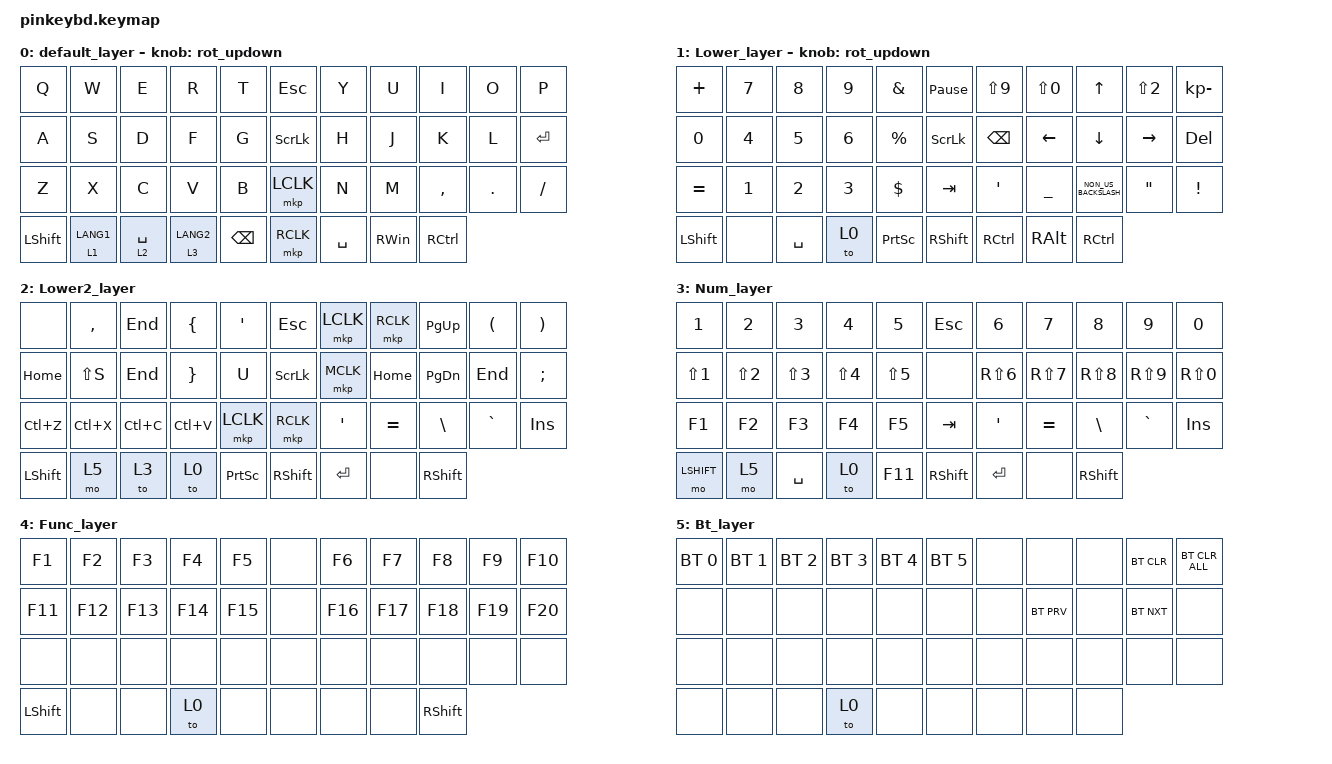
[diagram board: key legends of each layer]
#include <behaviors.dtsi>
#include <dt-bindings/zmk/bt.h>
#include <dt-bindings/zmk/keys.h>
#include <dt-bindings/zmk/pointing.h>

#define ZMK_POINTING_DEFAULT_SCRL_VAL 80

&lt { tapping-term-ms = <200>; };

/ {
    behaviors {
        rot_updown: rot_updown {
            compatible = "zmk,behavior-sensor-rotate";
            label = "ROT_UPDOWN";
            #sensor-binding-cells = <0>;
            bindings = <&msc SCRL_DOWN>, <&msc SCRL_UP>;

            tap-ms = <20>;
        };
    };

    keymap {
        compatible = "zmk,keymap";

        // ---------------------------------------------------------------------------------------------------------------------------------------------------------------------------------------------------------------
        // |        /       |       ,       |       .       |      -        |      ;       |    ESC         |                   |           |       L      |       R       |       D       |       Y       |      P      |
        // |        A       |       O       |       E       |      I        |      U       |    SCROLLLOCK  |                   |           |       G      |       N       |       T       |       S       |      K      |
        // |        X       |       C       |       V       |      W        |      Q       |    TAB         |                   |     F     |       J      |       H       |       M       |       B       |      Z      |
        // |    L_SHIFT     |               |               |   LOWER / Jp  |    Space     |    LEFT_WIN    |                   |  R_SHIFT  |      ENTER   |  LOWER2 / Ja  |               |               |   FUN_L     |
        // ---------------------------------------------------------------------------------------------------------------------------------------------------------------------------------------------------------------

        default_layer {
            bindings = <
&kp Q       &kp W        &kp E        &kp R        &kp T          &kp ESC         &kp Y      &kp U          &kp I              &kp O       &kp P
&kp A       &kp S        &kp D        &kp F        &kp G          &kp SCROLLLOCK  &kp H      &kp J          &kp K              &kp L       &kp ENTER
&kp Z       &kp X        &kp C        &kp V        &kp B          &mkp LCLK       &kp N      &kp M          &kp COMMA          &kp PERIOD  &kp SLASH
&kp LSHIFT  &lt 1 LANG1  &lt 2 SPACE  &lt 3 LANG2  &kp BACKSPACE  &mkp RCLK       &kp SPACE  &kp RIGHT_WIN  &kp RIGHT_CONTROL
            >;

            sensor-bindings = <&rot_updown>;
        };

        // ----------------------------------------------------------------------------------------------------------------------------------------------------------------------------------------------------------------
        // |    /           |       ,       |       END     |     （        |      ”        |    PAUSE_BREAK|                  |            |      （       |       ）     |        ↑      |        [      |      ]      |
        // |    HOME        |       C_SAVE  |       END     |       ）      |       U       |    SCROLLLOCK |                  |            |   Backspace   |       ←      |        ↓      |        →      |     DEL     |
        // |    UNDO        |       CUT     |       COPY    |       PASTE   |       Q       |    TAB        |                  |   PSCRN    |    ' / "      |    = / +     |    \ / |      |    ` / ~      |    INS      |
        // |    L_SHIFT     |               |               |       none    |    SPACE      |    LALT       |                  |   RSHIFT   |   ENTER       |       FUN_L  |               |               |    RCTRL    |
        // ----------------------------------------------------------------------------------------------------------------------------------------------------------------------------------------------------------------

        Lower_layer {
            bindings = <
&kp PLUS      &kp N7        &kp NUMBER_8  &kp NUMBER_9  &kp AMPERSAND  &kp PAUSE_BREAK  &kp LS(N9)         &kp LS(N0)      &kp UP                &kp LS(NUMBER_2)   &kp KP_MINUS
&kp NUMBER_0  &kp NUMBER_4  &kp NUMBER_5  &kp NUMBER_6  &kp PERCENT    &kp SCROLLLOCK   &kp BSPC           &kp LEFT        &kp DOWN              &kp RIGHT          &kp DEL
&kp EQUAL     &kp NUMBER_1  &kp NUMBER_2  &kp NUMBER_3  &kp DOLLAR     &kp TAB          &kp SINGLE_QUOTE   &kp UNDERSCORE  &kp NON_US_BACKSLASH  &kp DOUBLE_QUOTES  &kp EXCLAMATION
&kp LSHIFT    &none         &kp SPACE     &to 0         &kp PSCRN      &kp RSHIFT       &kp RIGHT_CONTROL  &kp RIGHT_ALT   &kp RCTRL
            >;

            sensor-bindings = <&rot_updown>;
        };

        // -------------------------------------------------------------------------------------------------------------------------------------------------------------------------------------------------------------
        // |    /           |       ,        |       END     |       {       |       ’      |    ESC        |                  |            |      L      |      R         |    PG_UP      |     {       |      }      |
        // |    HOME        |       C_SAVE   |       END     |       }       |       U      |    LCTRL      |                  |            |  Backspace  |    HOME        |    PG_DN      |    END      |    DEL      |
        // |    UNDO        |       CUT      |       COPY    |       PASTE   |       Q      |    TAB        |                  |      F     |    ' / "    |    = / +       |    \ / |      |    ` / ~    |    INS      |
        // |    L_SHIFT     |                |               |       BT_L    |      SPACE   |    LALT       |                  |   ENTER    |    none     |   R_SHIFT      |               |             |   R_SHIFT   |
        // -------------------------------------------------------------------------------------------------------------------------------------------------------------------------------------------------------------

        Lower2_layer {
            bindings = <
&none       &kp COMMA  &kp END    &kp LEFT_BRACE   &kp SINGLE_QUOTE  &kp ESC     &mkp LCLK  &mkp RCLK  &kp PG_UP   &kp LEFT_PARENTHESIS  &kp RIGHT_PARENTHESIS
&kp HOME    &kp LS(S)  &kp END    &kp RIGHT_BRACE  &kp U             &kp SLCK    &mkp MCLK  &kp HOME   &kp PG_DN   &kp END               &kp SEMICOLON
&kp LC(Z)   &kp LC(X)  &kp LC(C)  &kp LC(V)        &mkp LCLK         &mkp RCLK   &kp APOS   &kp EQUAL  &kp BSLH    &kp GRAVE             &kp INS
&kp LSHIFT  &mo 5      &to 3      &to 0            &kp PSCRN         &kp RSHIFT  &kp ENTER  &none      &kp RSHIFT
            >;
        };

        // --------------------------------------------------------------------------------------------------------------------------------------------------------------------------------------------------------------
        // |        1       |      2        |       3       |       4       |       5       |    ESC        |               |            |      6       |      7        |       8       |       9       |       0       |
        // |        !       |      @        |       #       |       $       |       %       |    none       |               |            |      ^       |      &        |       *       |       (       |       )       | 
        // |        F1      |     F2        |     F3        |       F4      |       F5      |    TAB        |               |     F11    |    ' / "     |    = / +      |    \ / |      |    ` / ~      |       INS     |
        // |    L_SHIFT     |               |               | En / LOWER    |    Space      |    LSIHT      |               |   R_SHIFT  |      ENTER   |     none      |               |               |       R_SHIFT |
        // --------------------------------------------------------------------------------------------------------------------------------------------------------------------------------------------------------------

        Num_layer {
            bindings = <
&kp N1      &kp N2      &kp N3      &kp N4      &kp N5      &kp ESC     &kp N6      &kp N7      &kp N8      &kp N9      &kp N0
&kp LS(N1)  &kp LS(N2)  &kp LS(N3)  &kp LS(N4)  &kp LS(N5)  &none       &kp RS(N6)  &kp RS(N7)  &kp RS(N8)  &kp RS(N9)  &kp RS(N0)
&kp F1      &kp F2      &kp F3      &kp F4      &kp F5      &kp TAB     &kp APOS    &kp EQUAL   &kp BSLH    &kp GRAVE   &kp INS
&mo LSHIFT  &mo 5       &kp SPACE   &to 0       &kp F11     &kp RSHIFT  &kp ENTER   &none       &kp RSHIFT
            >;
        };

        // ---------------------------------------------------------------------------------------------------------------------------------------------------------------------------------
        // |     F1      |     F2     |     F3     |     F4     |    F5      |    none    |                |            |    F6      |    F7      |    F8      |    F9       |     F10     |
        // |     F11     |     F12    |     F13    |     F14    |    F15     |    none    |                |   none     |    F16     |    F17     |    F18     |    F19      |     F20     |
        // |     none    |    none    |    none    |    none    |   none     |    none    |                |   none     |    none    |    none    |    none    |    none     |     none    |
        // |     L_SHIFT |    none    |    none    |    none    |   none     |    none    |                |   none     |    none    |    none    |    none    |    none     |     R_SHIFT |
        // ---------------------------------------------------------------------------------------------------------------------------------------------------------------------------------

        Func_layer {
            bindings = <
&kp F1      &kp F2   &kp F3   &kp F4   &kp F5   &none  &kp F6   &kp F7   &kp F8      &kp F9   &kp F10
&kp F11     &kp F12  &kp F13  &kp F14  &kp F15  &none  &kp F16  &kp F17  &kp F18     &kp F19  &kp F20
&none       &none    &none    &none    &none    &none  &none    &none    &none       &none    &none
&kp LSHIFT  &none    &none    &to 0    &none    &none  &none    &none    &kp RSHIFT
            >;
        };

        // --------------------------------------------------------------------------------------------------------------------------------------------------------------------------------
        // |    none    |    none    |    none    |    none    |   none     |    none    |                  |            |    none    |    none    |    none    |   none     |    none    |
        // |  BT_SEL 0  |  BT_SEL 1  |  BT_SEL 2  |  BT_SEL 3  |   none     |    none    |                  |            |    none    |    none    |    none    |   BT_CLR   | BT_CLR_ALL |
        // |    none    |    none    |    none    |    none    |   none     |    none    |                  |    none    |    none    |   BT_PRV   |    none    |   BT_NXT   |    none    |
        // |    none    |    none    |    none    |    none    |   none     |    none    |                  |    none    |    none    |    none    |    none    |   none     |    none    |
        // --------------------------------------------------------------------------------------------------------------------------------------------------------------------------------

        Bt_layer {
            bindings = <
&bt BT_SEL 0  &bt BT_SEL 1  &bt BT_SEL 2  &bt BT_SEL 3  &bt BT_SEL 4  &bt BT_SEL 5  &none  &none       &none  &bt BT_CLR  &bt BT_CLR_ALL
&none         &none         &none         &none         &none         &none         &none  &bt BT_PRV  &none  &bt BT_NXT  &none
&none         &none         &none         &none         &none         &none         &none  &none       &none  &none       &none
&none         &none         &none         &to 0         &none         &none         &none  &none       &none
            >;
        };
    };
};
